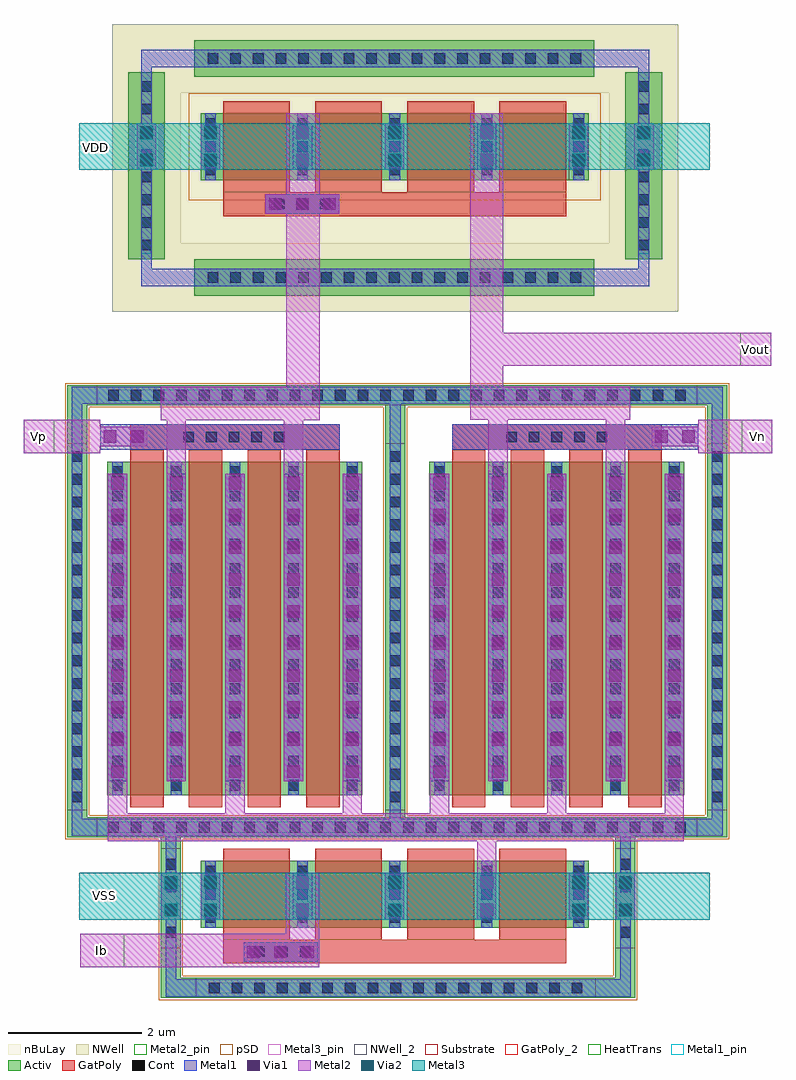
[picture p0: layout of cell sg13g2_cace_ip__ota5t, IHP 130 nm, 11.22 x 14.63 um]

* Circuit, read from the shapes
.subckt sg13g2_cace_ip__ota5t Ib VDD VSS Vn Vout Vp
XM1 n1 Vp n2 VSS sg13_lv_nmos w=5u l=0.5u m=4
XM2 Ib Ib VSS VSS sg13_lv_nmos w=1u l=1u m=2
XM3 n2 Ib VSS VSS sg13_lv_nmos w=1u l=1u m=2
XM4 Vout Vn n2 VSS sg13_lv_nmos w=5u l=0.5u m=4
XM5 n1 n1 VDD VDD sg13_lv_pmos w=1u l=1u m=2
XM6 Vout n1 VDD VDD sg13_lv_pmos w=1u l=1u m=2
.ends

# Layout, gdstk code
import gdstk
lib = gdstk.Library(unit=1e-6, precision=1e-09)
def R(c, l, rs):  # rectangles x0, y0, x1, y1
    for r in rs: c.add(gdstk.rectangle(r[:2], r[2:], *l))
def A(c, l, x, y, w, h, nx, ny, dx, dy):  # array of equal rectangles
    R(c, l, [(x+i*dx, y+j*dy, x+i*dx+w, y+j*dy+h) for i in range(nx) for j in range(ny)])
Activ = (1, 0)
GatPoly = (5, 0)
GatPoly_2 = (5, 2)
Cont = (6, 0)
Metal1 = (8, 0)
Metal1_pin = (8, 2)
Metal2 = (10, 0)
Metal2_pin = (10, 2)
pSD = (14, 0)
Via1 = (19, 0)
Via2 = (29, 0)
Metal3 = (30, 0)
Metal3_pin = (30, 2)
NWell = (31, 0)
NWell_2 = (31, 2)
nBuLay = (32, 0)
Substrate = (40, 0)
HeatTrans = (51, 0)

nmos_1 = lib.new_cell('nmos$1')
A(nmos_1, Activ, 0, 0, 0.3, 0.3, 5, 1, 0.88, 0)
R(nmos_1, Activ, [(0,0,3.82,5)])
A(nmos_1, GatPoly, 0.34, -0.18, 0.5, 5.36, 4, 1, 0.88, 0)
R(nmos_1, GatPoly_2, [(0.34,-0.18,0.84,5.18)])
A(nmos_1, Cont, 0.07, 0.07, 0.16, 0.16, 5, 4, 0.88, 0.36)
A(nmos_1, Cont, 0.07, 1.515, 0.16, 0.16, 5, 3, 0.88, 0.36)
A(nmos_1, Cont, 0.07, 2.6, 0.16, 0.16, 5, 3, 0.88, 0.36)
A(nmos_1, Cont, 0.07, 3.685, 0.16, 0.16, 5, 3, 0.88, 0.36)
A(nmos_1, Cont, 0.07, 4.77, 0.16, 0.16, 5, 1, 0.88, 0)
A(nmos_1, Metal1, 0.07, 0, 0.16, 5, 5, 1, 0.88, 0)
R(nmos_1, Metal1_pin, [(0.07,0,0.23,5), (0.95,0,1.11,5)])
A(nmos_1, HeatTrans, 0.34, -0.18, 0.5, 5.36, 4, 1, 0.88, 0)
nmos_1.add(gdstk.Label('nmos', (0.59,2.5), layer=63, texttype=0))
nmos_1.add(gdstk.Label('nmos', (0.59,2.5), layer=51, texttype=0))
nmos_1.add(gdstk.Label('nmos', (1.47,2.5), layer=51, texttype=0))
nmos_1.add(gdstk.Label('nmos', (2.35,2.5), layer=51, texttype=0))
nmos_1.add(gdstk.Label('nmos', (3.23,2.5), layer=51, texttype=0))

nmos = lib.new_cell('nmos')
A(nmos, Activ, 0, 0, 0.3, 0.3, 5, 1, 1.38, 0)
R(nmos, Activ, [(0,0,5.82,1)])
A(nmos, GatPoly, 0.34, -0.18, 1, 1.36, 4, 1, 1.38, 0)
R(nmos, GatPoly_2, [(0.34,-0.18,1.34,1.18)])
A(nmos, Cont, 0.07, 0.07, 0.16, 0.16, 5, 3, 1.38, 0.35)
A(nmos, Metal1, 0.07, 0, 0.16, 1, 5, 1, 1.38, 0)
R(nmos, Metal1_pin, [(0.07,0,0.23,1), (1.45,0,1.61,1)])
A(nmos, HeatTrans, 0.34, -0.18, 1, 1.36, 4, 1, 1.38, 0)
nmos.add(gdstk.Label('nmos', (0.84,0.5), layer=63, texttype=0))
nmos.add(gdstk.Label('nmos', (0.84,0.5), layer=51, texttype=0))
nmos.add(gdstk.Label('nmos', (2.22,0.5), layer=51, texttype=0))
nmos.add(gdstk.Label('nmos', (3.6,0.5), layer=51, texttype=0))
nmos.add(gdstk.Label('nmos', (4.98,0.5), layer=51, texttype=0))

ptap1 = lib.new_cell('ptap1')
R(ptap1, Activ, [(0,0,6,0.3)])
A(ptap1, Cont, 0.2, 0.07, 0.16, 0.16, 17, 1, 0.34, 0)
R(ptap1, Metal1, [(0.2,0.02,5.8,0.28), (0.2,0.07,5.8,0.23)])
R(ptap1, Metal1_pin, [(0.2,0.07,5.8,0.23)])
R(ptap1, pSD, [(-0.03,-0.03,6.03,0.33)])
R(ptap1, Substrate, [(0,0,6,0.3)])
ptap1.add(gdstk.Label('sub!', (3,0.01), layer=63, texttype=0))
ptap1.add(gdstk.Label('sub!', (3,0.01), layer=40, texttype=0))

ptap1_2 = lib.new_cell('ptap1$2')
R(ptap1_2, Activ, [(0,0,0.3,5.5)])
A(ptap1_2, Cont, 0.07, 0.12, 0.16, 0.16, 1, 16, 0, 0.34)
R(ptap1_2, Metal1, [(0.07,0.07,0.23,5.43), (0.07,0.12,0.23,5.38)])
R(ptap1_2, Metal1_pin, [(0.07,0.12,0.23,5.38)])
R(ptap1_2, pSD, [(-0.03,-0.03,0.33,5.53)])
R(ptap1_2, Substrate, [(0,0,0.3,5.5)])
ptap1_2.add(gdstk.Label('sub!', (0.15,0.01), layer=63, texttype=0))
ptap1_2.add(gdstk.Label('sub!', (0.15,0.01), layer=40, texttype=0))

ptap1_3 = lib.new_cell('ptap1$3')
R(ptap1_3, Activ, [(0,0,9,0.3)])
A(ptap1_3, Cont, 0.17, 0.07, 0.16, 0.16, 26, 1, 0.34, 0)
R(ptap1_3, Metal1, [(0.17,0.02,8.83,0.28), (0.17,0.07,8.83,0.23)])
R(ptap1_3, Metal1_pin, [(0.17,0.07,8.83,0.23)])
R(ptap1_3, pSD, [(-0.03,-0.03,9.03,0.33)])
R(ptap1_3, Substrate, [(0,0,9,0.3)])
ptap1_3.add(gdstk.Label('sub!', (4.5,0.01), layer=63, texttype=0))
ptap1_3.add(gdstk.Label('sub!', (4.5,0.01), layer=40, texttype=0))

ptap1_4 = lib.new_cell('ptap1$4')
R(ptap1_4, Activ, [(0,0,0.3,1.5)])
A(ptap1_4, Cont, 0.07, 0.16, 0.16, 0.16, 1, 4, 0, 0.34)
R(ptap1_4, Metal1, [(0.07,0.11,0.23,1.39), (0.07,0.16,0.23,1.34)])
R(ptap1_4, Metal1_pin, [(0.07,0.16,0.23,1.34)])
R(ptap1_4, pSD, [(-0.03,-0.03,0.33,1.53)])
R(ptap1_4, Substrate, [(0,0,0.3,1.5)])
ptap1_4.add(gdstk.Label('sub!', (0.15,0.01), layer=63, texttype=0))
ptap1_4.add(gdstk.Label('sub!', (0.15,0.01), layer=40, texttype=0))

pmos_3 = lib.new_cell('pmos$3')
A(pmos_3, Activ, 0, 0, 0.3, 0.3, 5, 1, 1.38, 0)
R(pmos_3, Activ, [(0,0,5.82,1)])
A(pmos_3, GatPoly, 0.34, -0.18, 1, 1.36, 4, 1, 1.38, 0)
R(pmos_3, GatPoly, [(0.34,-0.18,1.34,1.18)])
A(pmos_3, Cont, 0.07, 0.07, 0.16, 0.16, 5, 3, 1.38, 0.35)
A(pmos_3, Metal1, 1.45, 0, 0.16, 1, 4, 1, 1.38, 0)
R(pmos_3, Metal1, [(0.07,0,0.23,1), (0.07,0,0.23,1), (1.45,0,1.61,1)])
R(pmos_3, pSD, [(-0.18,-0.3,6,1.3)])
R(pmos_3, NWell, [(-0.31,-0.31,6.13,1.31)])
R(pmos_3, Substrate, [(5.52,0,5.82,0.3)])
A(pmos_3, HeatTrans, 0.34, -0.18, 1, 1.36, 4, 1, 1.38, 0)
pmos_3.add(gdstk.Label('pmos', (0.84,0.5), layer=63, texttype=0))
pmos_3.add(gdstk.Label('pmos', (0.84,0.5), layer=51, texttype=0))
pmos_3.add(gdstk.Label('pmos', (2.22,0.5), layer=51, texttype=0))
pmos_3.add(gdstk.Label('pmos', (3.6,0.5), layer=51, texttype=0))
pmos_3.add(gdstk.Label('pmos', (4.98,0.5), layer=51, texttype=0))

ntap1_4 = lib.new_cell('ntap1$4')
R(ntap1_4, Activ, [(0,0,6,0.55)])
A(ntap1_4, Cont, 0.2, 0.195, 0.16, 0.16, 17, 1, 0.34, 0)
R(ntap1_4, Metal1, [(0.2,0.145,5.8,0.405)])
R(ntap1_4, Metal1_pin, [(0.2,0.145,5.8,0.405), (0.2,0.195,5.8,0.355)])
R(ntap1_4, NWell, [(-0.24,-0.24,6.24,0.79), (0,0,6,0.55)])
R(ntap1_4, NWell_2, [(0,0,6,0.55)])
R(ntap1_4, nBuLay, [(-0.24,-0.24,6.24,0.79)])
ntap1_4.add(gdstk.Label('well', (3,0.01), layer=63, texttype=0))
ntap1_4.add(gdstk.Label('well', (3,0.01), layer=31, texttype=0))

ntap1_7 = lib.new_cell('ntap1$7')
R(ntap1_7, Activ, [(0,0,0.55,2.8)])
A(ntap1_7, Cont, 0.195, 0.13, 0.16, 0.16, 1, 8, 0, 0.34)
R(ntap1_7, Metal1, [(0.195,0.08,0.355,2.72)])
R(ntap1_7, Metal1_pin, [(0.195,0.08,0.355,2.72), (0.195,0.13,0.355,2.67)])
R(ntap1_7, NWell, [(-0.24,-0.24,0.79,3.04), (0,0,0.55,2.8)])
R(ntap1_7, NWell_2, [(0,0,0.55,2.8)])
R(ntap1_7, nBuLay, [(-0.24,-0.24,0.79,3.04)])
ntap1_7.add(gdstk.Label('well', (0.275,0.01), layer=63, texttype=0))
ntap1_7.add(gdstk.Label('well', (0.275,0.01), layer=31, texttype=0))

via_stack = lib.new_cell('via_stack')
R(via_stack, Metal1, [(-0.35,-0.145,0.35,0.145)])
R(via_stack, Metal2, [(-0.35,-0.145,0.35,0.145)])
R(via_stack, Via1, [(-0.3,-0.095,-0.11,0.095), (0.11,-0.095,0.3,0.095)])

via_stack_2 = lib.new_cell('via_stack$2')
R(via_stack_2, Metal1, [(-0.145,-0.35,0.145,0.35)])
R(via_stack_2, Metal2, [(-0.145,-0.35,0.145,0.35)])
R(via_stack_2, Via1, [(-0.095,-0.3,0.095,-0.11), (-0.095,0.11,0.095,0.3)])
R(via_stack_2, Via2, [(-0.095,-0.3,0.095,-0.11), (-0.095,0.11,0.095,0.3)])
R(via_stack_2, Metal3, [(-0.145,-0.35,0.145,0.35)])

via_stack_3 = lib.new_cell('via_stack$3')
R(via_stack_3, Metal1, [(-0.145,-0.35,0.145,0.35)])
R(via_stack_3, Metal2, [(-0.145,-0.35,0.145,0.35)])
R(via_stack_3, Via1, [(-0.095,-0.3,0.095,-0.11), (-0.095,0.11,0.095,0.3)])

via_stack_5 = lib.new_cell('via_stack$5')
R(via_stack_5, Metal1, [(-0.555,-0.145,0.555,0.145)])
R(via_stack_5, Metal2, [(-0.555,-0.145,0.555,0.145)])
A(via_stack_5, Via1, -0.505, -0.095, 0.19, 0.19, 3, 1, 0.41, 0)

via_stack_4 = lib.new_cell('via_stack$4')
R(via_stack_4, Metal1, [(-0.145,-2.305,0.145,2.305)])
R(via_stack_4, Metal2, [(-0.145,-2.305,0.145,2.305)])
A(via_stack_4, Via1, -0.095, -2.255, 0.19, 0.19, 1, 10, 0, 0.48)

sg13g2_cace_ip__ota5t = lib.new_cell('sg13g2_cace_ip__ota5t')
R(sg13g2_cace_ip__ota5t, Activ, [(-1.99,-6.195,-1.69,-5.405), (-1.81,-6.195,-1.435,-5.895), (4.53,-6.195,4.985,-5.895), (4.825,-6.195,5.125,-5.42), (-1.99,-3.95,-1.69,-3.77), (4.825,-3.95,5.125,-3.77), (-3.395,-3.785,-3.095,-3.38), (-3.395,-3.785,-2.95,-3.485), (6.05,-3.785,6.5,-3.485), (6.2,-3.785,6.5,-3.38), (1.375,-3.495,1.675,-3.38), (6.2,1.985,6.5,2.99), (-3.395,2.03,-3.095,2.99), (1.375,2.045,1.675,2.73), (-3.395,2.69,-2.95,2.99), (6.05,2.69,6.5,2.99)])
R(sg13g2_cace_ip__ota5t, GatPoly, [(-1.055,-5.675,4.085,-5.32), (-2.45,2.025,0.69,2.405), (2.375,2.025,5.515,2.405), (-1.055,5.525,4.085,5.885)])
A(sg13g2_cace_ip__ota5t, Cont, -1.655, 2.135, 0.16, 0.16, 5, 1, 0.34, 0)
A(sg13g2_cace_ip__ota5t, Cont, 3.185, 2.135, 0.16, 0.16, 5, 1, 0.34, 0)
A(sg13g2_cace_ip__ota5t, Cont, -0.29, 5.625, 0.16, 0.16, 3, 1, 0.34, 0)
R(sg13g2_cace_ip__ota5t, Cont, [(-0.59,-5.58,-0.43,-5.42), (-0.59,-5.58,-0.43,-5.42), (-0.25,-5.58,-0.09,-5.42), (-0.25,-5.58,-0.09,-5.42), (0.09,-5.58,0.25,-5.42), (0.09,-5.58,0.25,-5.42)])
R(sg13g2_cace_ip__ota5t, Metal1, [(-1.92,-6.175,-1.27,-5.915), (4.33,-6.175,5.055,-5.915), (-1.92,-6.155,-1.76,-5.285), (4.895,-6.15,5.055,-5.31), (-1.92,-4.06,-1.76,-3.765), (4.895,-4.06,5.055,-3.765), (-3.325,-3.765,-2.78,-3.505), (5.88,-3.765,6.42,-3.505), (6.27,-3.765,6.43,-3.31), (-3.325,-3.745,-3.165,-3.31), (1.445,-3.58,1.605,-3.31), (-2.895,2.025,0.69,2.405), (2.375,2.025,6.065,2.405), (-3.325,2.05,-3.165,2.97), (1.445,2.05,1.605,2.74), (6.27,2.05,6.43,2.97), (-3.3,2.71,-2.78,2.97), (5.88,2.71,6.43,2.97), (-2.285,4.475,-2.125,5), (-2.165,4.475,-1.29,4.735), (4.31,4.475,5.31,4.735), (5.17,4.475,5.33,4.99), (5.17,6.595,5.33,8.02), (-2.285,6.695,-2.125,8.02), (-2.165,7.76,-1.29,8.02), (4.31,7.76,5.315,8.02)])
A(sg13g2_cace_ip__ota5t, Metal2, -2.785, -3.845, 0.29, 0.9, 3, 1, 1.76, 0)
A(sg13g2_cace_ip__ota5t, Metal2, 2.04, -3.845, 0.29, 0.9, 3, 1, 1.76, 0)
R(sg13g2_cace_ip__ota5t, Metal2, [(2.75,-4.32,3.04,-3.815), (-2.785,-3.845,5.85,-3.425), (-1.905,1.665,-1.615,2.51), (-0.145,1.665,0.145,2.51), (2.92,1.665,3.21,2.51), (4.68,1.665,4.97,2.51)])
R(sg13g2_cace_ip__ota5t, Metal2_pin, [(-3.2,-5.735,-2.54,-5.235), (-4.045,1.97,-3.59,2.47), (6.72,1.97,7.175,2.47), (6.695,3.28,7.16,3.78)])
R(sg13g2_cace_ip__ota5t, pSD, [(-2.02,-6.225,-1.5,-5.865), (4.56,-6.225,5.155,-5.865), (-2.02,-5.92,-1.66,-5.48), (4.795,-5.915,5.155,-5.48), (-2.02,-3.92,-1.66,-3.815), (4.795,-3.92,5.155,-3.815), (-3.425,-3.815,-3.065,-3.41), (-3.295,-3.815,-2.98,-3.455), (6.08,-3.815,6.53,-3.455), (6.17,-3.67,6.53,-3.41), (1.345,-3.455,1.705,-3.41), (-3.425,2.025,-3.065,3.02), (1.345,2.11,1.705,2.66), (6.17,2.11,6.53,3.02), (-3.25,2.66,-2.98,3.02), (6.08,2.66,6.515,3.02)])
R(sg13g2_cace_ip__ota5t, Metal3, [(-3.215,-5.02,-1.39,-4.32), (-1.39,-5.02,4.42,-4.32), (4.42,-5.02,6.235,-4.32), (-3.215,6.22,-1.39,6.92), (-1.39,6.22,4.42,6.92), (4.42,6.22,6.235,6.92)])
R(sg13g2_cace_ip__ota5t, Metal3_pin, [(-3.215,-5.02,6.235,-4.32), (-3.215,6.22,6.235,6.92)])
R(sg13g2_cace_ip__ota5t, NWell, [(-2.72,4.09,5.765,8.405)])
R(sg13g2_cace_ip__ota5t, nBuLay, [(-2.72,4.09,-1.73,4.64), (4.75,4.09,5.765,4.64), (4.735,7.045,5.765,8.405), (-2.72,7.065,-1.69,8.405)])
sg13g2_cace_ip__ota5t.add(gdstk.FlexPath([(0.14,7.065),(0.14,2.715),(-1.995,2.715)], 0.5, ends="flush", simple_path=True, layer=10, datatype=0))  # Metal2
sg13g2_cace_ip__ota5t.add(gdstk.FlexPath([(2.895,7.065),(2.895,2.72),(5.045,2.72)], 0.5, ends="flush", simple_path=True, layer=10, datatype=0))  # Metal2
sg13g2_cace_ip__ota5t.add(gdstk.FlexPath([(2.895,3.53),(7.16,3.53)], 0.5, ends="flush", simple_path=True, layer=10, datatype=0))  # Metal2
sg13g2_cace_ip__ota5t.add(gdstk.FlexPath([(0.135,-4.32),(0.135,-5.485),(-3.2,-5.485)], 0.5, ends="flush", simple_path=True, layer=10, datatype=0))  # Metal2
sg13g2_cace_ip__ota5t.add(gdstk.FlexPath([(-2.895,2.22),(-4.045,2.22)], 0.5, ends="flush", simple_path=True, layer=10, datatype=0))  # Metal2
sg13g2_cace_ip__ota5t.add(gdstk.FlexPath([(6.065,2.22),(7.175,2.22)], 0.5, ends="flush", simple_path=True, layer=10, datatype=0))  # Metal2
sg13g2_cace_ip__ota5t.add(gdstk.Reference(nmos_1, (2.035,-3.155)))
sg13g2_cace_ip__ota5t.add(gdstk.Reference(nmos_1, (-2.79,-3.155)))
sg13g2_cace_ip__ota5t.add(gdstk.Reference(nmos, (-1.395,-5.14)))
sg13g2_cace_ip__ota5t.add(gdstk.Reference(ptap1, (-1.47,-6.195)))
sg13g2_cace_ip__ota5t.add(gdstk.Reference(ptap1_2, (1.375,-3.38)))
sg13g2_cace_ip__ota5t.add(gdstk.Reference(ptap1_2, (-3.395,-3.38)))
sg13g2_cace_ip__ota5t.add(gdstk.Reference(ptap1_2, (6.2,-3.38)))
sg13g2_cace_ip__ota5t.add(gdstk.Reference(ptap1_3, (-2.95,2.69)))
sg13g2_cace_ip__ota5t.add(gdstk.Reference(ptap1_3, (-2.95,-3.785)))
sg13g2_cace_ip__ota5t.add(gdstk.Reference(ptap1_4, (-1.99,-5.45)))
sg13g2_cace_ip__ota5t.add(gdstk.Reference(ptap1_4, (4.825,-5.45)))
sg13g2_cace_ip__ota5t.add(gdstk.Reference(pmos_3, (-1.395,6.065)))
sg13g2_cace_ip__ota5t.add(gdstk.Reference(ntap1_4, (-1.49,7.615)))
sg13g2_cace_ip__ota5t.add(gdstk.Reference(ntap1_4, (-1.49,4.33)))
sg13g2_cace_ip__ota5t.add(gdstk.Reference(ntap1_7, (-2.48,4.88)))
sg13g2_cace_ip__ota5t.add(gdstk.Reference(ntap1_7, (4.975,4.88)))
sg13g2_cace_ip__ota5t.add(gdstk.Reference(via_stack, (-2.545,2.22)))
sg13g2_cace_ip__ota5t.add(gdstk.Reference(via_stack_2, (-1.245,6.57)))
sg13g2_cace_ip__ota5t.add(gdstk.Reference(via_stack_2, (1.515,6.57)))
sg13g2_cace_ip__ota5t.add(gdstk.Reference(via_stack_2, (4.275,6.57)))
sg13g2_cace_ip__ota5t.add(gdstk.Reference(via_stack_3, (0.135,6.57)))
sg13g2_cace_ip__ota5t.add(gdstk.Reference(via_stack_3, (2.895,6.57)))
sg13g2_cace_ip__ota5t.add(gdstk.Reference(via_stack_2, (-1.245,-4.67)))
sg13g2_cace_ip__ota5t.add(gdstk.Reference(via_stack_2, (1.515,-4.67)))
sg13g2_cace_ip__ota5t.add(gdstk.Reference(via_stack_2, (4.275,-4.67)))
sg13g2_cace_ip__ota5t.add(gdstk.Reference(via_stack_3, (0.135,-4.67)))
sg13g2_cace_ip__ota5t.add(gdstk.Reference(via_stack_3, (2.895,-4.67)))
sg13g2_cace_ip__ota5t.add(gdstk.Reference(via_stack_5, (-0.195,-5.505)))
sg13g2_cace_ip__ota5t.add(gdstk.Reference(via_stack_5, (-0.195,-5.505)))
sg13g2_cace_ip__ota5t.add(gdstk.Reference(via_stack, (5.715,2.22)))
sg13g2_cace_ip__ota5t.add(gdstk.Reference(via_stack_4, (-2.64,-0.64)))
sg13g2_cace_ip__ota5t.add(gdstk.Reference(via_stack_4, (-0.88,-0.64)))
sg13g2_cace_ip__ota5t.add(gdstk.Reference(via_stack_4, (0.88,-0.64)))
sg13g2_cace_ip__ota5t.add(gdstk.Reference(via_stack_4, (2.185,-0.64)))
sg13g2_cace_ip__ota5t.add(gdstk.Reference(via_stack_4, (3.945,-0.64)))
sg13g2_cace_ip__ota5t.add(gdstk.Reference(via_stack_4, (5.705,-0.64)))
sg13g2_cace_ip__ota5t.add(gdstk.Reference(via_stack_4, (-1.76,-0.64)))
sg13g2_cace_ip__ota5t.add(gdstk.Reference(via_stack_4, (0,-0.64)))
sg13g2_cace_ip__ota5t.add(gdstk.Reference(via_stack_4, (3.065,-0.64)))
sg13g2_cace_ip__ota5t.add(gdstk.Reference(via_stack_4, (4.825,-0.64)))
sg13g2_cace_ip__ota5t.add(gdstk.Reference(via_stack_5, (0.13,5.705)))
sg13g2_cace_ip__ota5t.add(gdstk.Reference(via_stack_2, (-1.84,-4.67)))
sg13g2_cace_ip__ota5t.add(gdstk.Reference(via_stack_2, (4.975,-4.67)))
sg13g2_cace_ip__ota5t.add(gdstk.Reference(via_stack_2, (-2.205,6.57)))
sg13g2_cace_ip__ota5t.add(gdstk.Reference(via_stack_2, (5.25,6.57)))
sg13g2_cace_ip__ota5t.add(gdstk.Label('VDD', (-2.97,6.555), layer=30, texttype=25))
sg13g2_cace_ip__ota5t.add(gdstk.Label('VSS', (-2.83,-4.66), layer=30, texttype=25))
sg13g2_cace_ip__ota5t.add(gdstk.Label('Vp', (-3.82,2.215), layer=10, texttype=25))
sg13g2_cace_ip__ota5t.add(gdstk.Label('Vn', (6.955,2.22), layer=10, texttype=25))
sg13g2_cace_ip__ota5t.add(gdstk.Label('Ib', (-2.885,-5.485), layer=10, texttype=25))
sg13g2_cace_ip__ota5t.add(gdstk.Label('Vout', (6.92,3.525), layer=10, texttype=25))

lib.write_gds('sg13g2_cace_ip__ota5t.gds')
